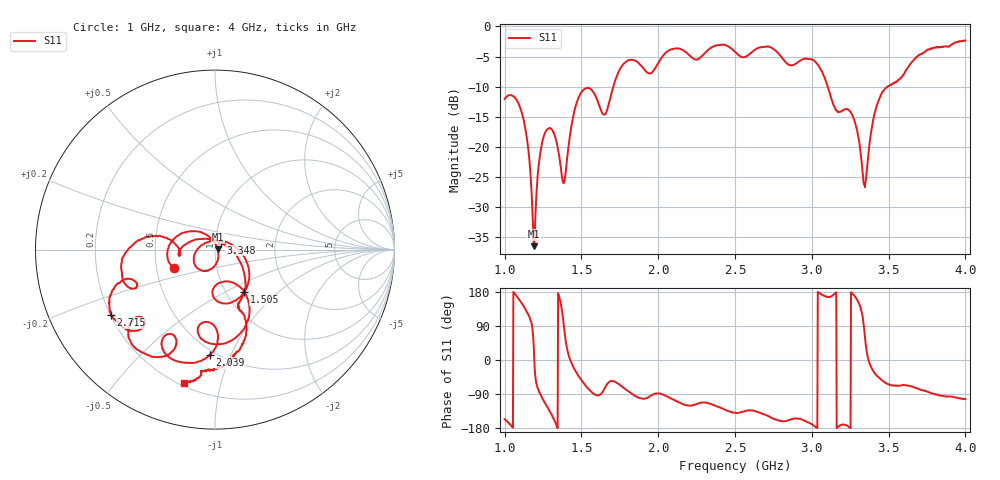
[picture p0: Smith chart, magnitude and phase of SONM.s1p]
# MHz S MA R 50
!  freq  S11
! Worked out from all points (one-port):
!   1000 points, 1 GHz to 4 GHz, reference 50 ohm
!   lowest |S11| = -36.6 dB at 1.192 GHz (marker M1), VSWR 1.03, Z = 51.5 + j0.195 ohm
!   |S11| at or under -10 dB: start of sweep to 1.708 GHz; 3.104 GHz to 3.496 GHz (391.9 MHz wide, 11.9 % of centre)
!   S11 on the Smith chart (normalised r, x): 1 GHz: 0.62, -0.13; 1.505 GHz: 1.21, -0.63; 2.039 GHz: 0.47, -0.84; 2.715 GHz: 0.20, -0.28; 3.348 GHz: 1.06, +0.08; 4 GHz: 0.22, -0.77
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1000  0.249 -156.2
1120.12  0.1748 144.3
1153.153  0.09821 120.9
1192.192  0.01486 7.3
1231.231  0.08618 -89.1
1270.27  0.1359 -118.8
1324.324  0.1262 -159.3
1375.375  0.05415 125.2
1504.505  0.288 -55.5
1651.652  0.1849 -74.7
1750.751  0.4415 -66.0
1882.883  0.4809 -101.0
1951.952  0.4082 -94.1
2039.039  0.5877 -92.7
2126.126  0.6573 -110.1
2234.234  0.5348 -118.5
2375.375  0.6942 -121.3
2501.502  0.6141 -139.6
2585.586  0.5769 -133.1
2714.715  0.6834 -147.8
2876.877  0.4769 -155.2
3018.018  0.5163 -174.9
3159.159  0.2003 178.8
3252.252  0.1946 -179.9
3348.348  0.04977 51.2
3441.441  0.2548 -47.6
3627.628  0.4593 -67.6
4000  0.7645 -103.1
